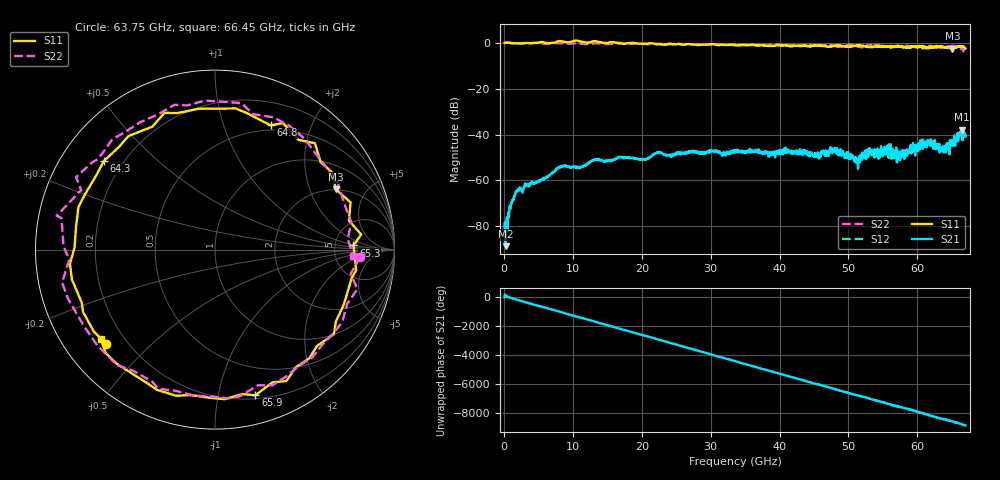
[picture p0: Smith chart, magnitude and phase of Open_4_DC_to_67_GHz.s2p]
#  HZ  S  MA  R  50.00
! Rohde & Schwarz ZVA67 4Ports - Version 4.11 - 1305.7002k04 SN: 101051
! Date: 2023-05-31 11:08:53
! Measurements: S11 S21 S12 S22
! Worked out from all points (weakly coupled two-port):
!   1340 points, 50 MHz to 67 GHz, reference 50 ohm
!   highest |S21| = -37.92 dB at 66.45 GHz (marker M1); lowest = -88.7 dB at 200 MHz (marker M2)
!   lowest |S11| = -2.5 dB at 65.1 GHz (marker M3), VSWR 7.11, Z = 99 + j154 ohm
!   |S11| at or under -10 dB: nowhere
!   |S22| runs from -3.7 to 0.1 dB; largest |S21 - S12| = 0.0038
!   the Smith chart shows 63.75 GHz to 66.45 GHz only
!   S11 on the Smith chart (normalised r, x): 63.75 GHz: 0.13, -0.37; 64.3 GHz: 0.13, +0.34; 64.8 GHz: 0.44, +1.45; 65.3 GHz: 7.67, +0.88; 65.9 GHz: 0.23, -1.29; 66.45 GHz: 0.12, -0.34
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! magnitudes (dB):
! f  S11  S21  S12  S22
! 50 MHz  0.0  -84.3  -78.2  0.0
! 200 MHz  0.0  -88.7  -87.4  0.1
! 2 GHz  -0.2  -64.8  -64.4  -0.2
! 8.1 GHz  0.8  -54.4  -54.1  -0.1
! 11.25 GHz  0.5  -53.9  -54.0  -0.4
! 22.4 GHz  -0.6  -47.6  -47.8  -0.4
! 33.55 GHz  -1.1  -47.7  -47.4  -0.7
! 44.7 GHz  -1.4  -48.8  -48.9  -1.0
! 47.65 GHz  -1.6  -46.3  -46.8  -1.1
! 51.3 GHz  -1.1  -51.3  -50.5  -1.5
! 53.05 GHz  -1.8  -45.9  -47.9  -1.0
! 55.85 GHz  -1.7  -44.3  -47.0  -1.5
! 57.35 GHz  -1.4  -47.4  -48.8  -1.5
! 61.7 GHz  -1.8  -43.8  -43.3  -1.4
! 63.75 GHz  -1.9  -47.4  -45.2  -1.8
! 64.3 GHz  -2.0  -43.9  -45.8  -2.0
! 64.8 GHz  -2.4  -43.8  -42.9  -1.5
! 65.1 GHz  -2.5  -43.0  -43.4  -1.8
! 65.3 GHz  -2.2  -42.9  -42.5  -1.8
! 65.9 GHz  -1.5  -40.1  -42.2  -1.6
! 66.45 GHz  -1.9  -37.9  -39.1  -2.3
! 67 GHz  -2.4  -40.9  -41.1  -2.6
